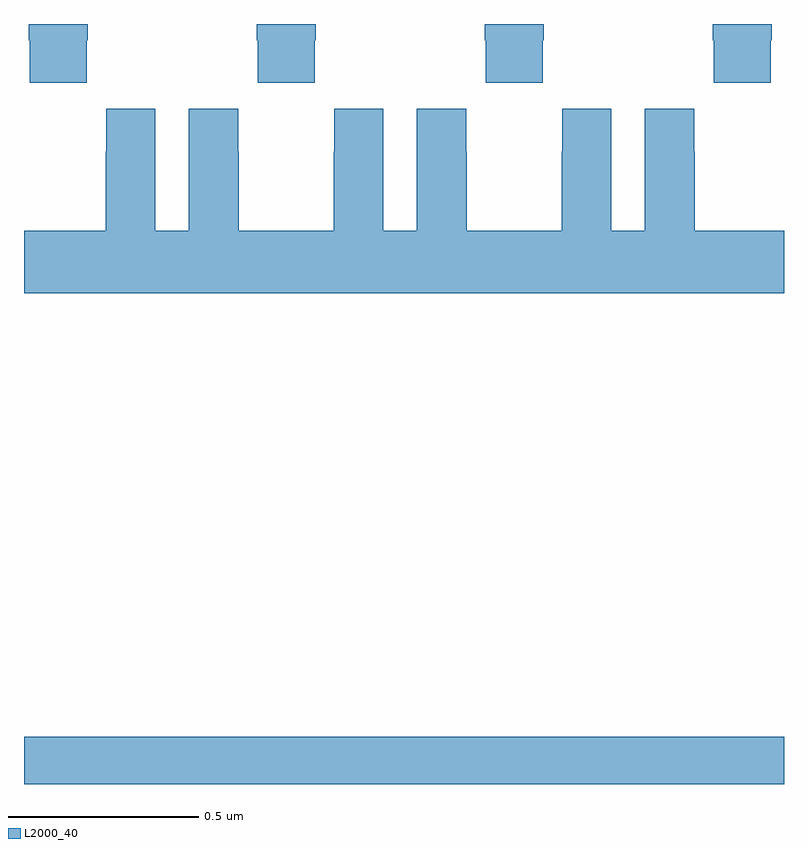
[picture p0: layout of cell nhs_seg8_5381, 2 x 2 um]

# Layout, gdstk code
import gdstk
lib = gdstk.Library(unit=1e-6, precision=1e-09)
def R(c, l, rs):  # rectangles x0, y0, x1, y1
    for r in rs: c.add(gdstk.rectangle(r[:2], r[2:], *l))
def P(c, l, *ps):  # polygons
    for p in ps: c.add(gdstk.Polygon(p, *l))
L2000_40 = (2000, 40)

nhs_seg8_5381 = lib.new_cell('nhs_seg8_5381')
R(nhs_seg8_5381, L2000_40, [(183,1089.9,185,1090.024)])
P(nhs_seg8_5381, L2000_40, [(183.165,1091.857),(183.168,1091.857),(183.168,1091.9),(183.013,1091.9),(183.013,1091.857),(183.015,1091.857),(183.015,1091.745),(183.165,1091.745)],
  [(183.765,1091.857),(183.768,1091.857),(183.768,1091.9),(183.613,1091.9),(183.613,1091.857),(183.615,1091.857),(183.615,1091.745),(183.765,1091.745)],
  [(184.365,1091.857),(184.368,1091.857),(184.368,1091.9),(184.213,1091.9),(184.213,1091.857),(184.215,1091.857),(184.215,1091.745),(184.365,1091.745)],
  [(184.965,1091.857),(184.968,1091.857),(184.968,1091.9),(184.813,1091.9),(184.813,1091.857),(184.815,1091.857),(184.815,1091.745),(184.965,1091.745)],
  [(183.216,1091.677),(183.216,1091.564),(183.215,1091.564),(183.215,1091.356),(183,1091.356),(183,1091.192),(185,1091.192),(185,1091.356),(184.765,1091.356),(184.765,1091.564),(184.764,1091.564),(184.764,1091.677),(184.634,1091.677),(184.634,1091.356),(184.546,1091.356),(184.546,1091.677),(184.416,1091.677),(184.416,1091.564),(184.415,1091.564),(184.415,1091.356),(184.165,1091.356),(184.165,1091.564),(184.164,1091.564),(184.164,1091.677),(184.034,1091.677),(184.034,1091.356),(183.946,1091.356),(183.946,1091.677),(183.816,1091.677),(183.816,1091.564),(183.815,1091.564),(183.815,1091.356),(183.565,1091.356),(183.565,1091.564),(183.564,1091.564),(183.564,1091.677),(183.434,1091.677),(183.434,1091.356),(183.346,1091.356),(183.346,1091.677)])

lib.write_gds('nhs_seg8_5381.gds')
